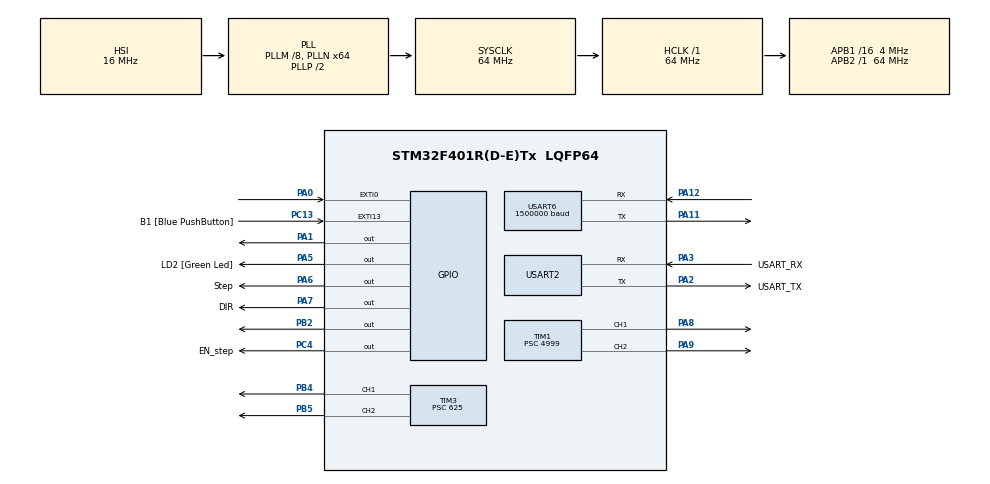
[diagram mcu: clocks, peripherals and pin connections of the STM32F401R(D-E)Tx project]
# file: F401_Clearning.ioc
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Mcu.Family=STM32F4
Mcu.Name=STM32F401R(D-E)Tx
Mcu.Package=LQFP64
NVIC.EXTI0_IRQn=true\:0\:0\:false\:false\:true\:true\:true
NVIC.EXTI15_10_IRQn=true\:0\:0\:false\:false\:true\:true\:true
NVIC.PriorityGroup=NVIC_PRIORITYGROUP_0
PA0-WKUP.GPIO_ModeDefaultEXTI=GPIO_MODE_IT_RISING_FALLING
PA0-WKUP.GPIO_PuPd=GPIO_PULLUP
PA0-WKUP.Signal=GPXTI0
PA1.Signal=GPIO_Output
PA11.Mode=Asynchronous
PA11.Signal=USART6_TX
PA12.Mode=Asynchronous
PA12.Signal=USART6_RX
PA13.GPIO_Label=TMS
PA13.Mode=Serial_Wire
PA13.Signal=SYS_JTMS-SWDIO
PA14.GPIO_Label=TCK
PA14.Mode=Serial_Wire
PA14.Signal=SYS_JTCK-SWCLK
PA2.GPIO_Label=USART_TX
PA2.GPIO_Mode=GPIO_MODE_AF_PP
PA2.GPIO_PuPd=GPIO_NOPULL
PA2.GPIO_Speed=GPIO_SPEED_FREQ_LOW
PA2.Mode=Asynchronous
PA2.Signal=USART2_TX
PA3.GPIO_Label=USART_RX
PA3.GPIO_Mode=GPIO_MODE_AF_PP
PA3.GPIO_PuPd=GPIO_NOPULL
PA3.GPIO_Speed=GPIO_SPEED_FREQ_LOW
PA3.Mode=Asynchronous
PA3.Signal=USART2_RX
PA5.GPIO_Label=LD2 [Green Led]
PA5.GPIO_Mode=GPIO_MODE_OUTPUT_PP
PA5.GPIO_PuPd=GPIO_NOPULL
PA5.GPIO_Speed=GPIO_SPEED_FREQ_LOW
PA5.Signal=GPIO_Output
PA6.GPIO_Label=Step
PA6.Signal=GPIO_Output
PA7.GPIO_Label=DIR
PA7.Signal=GPIO_Output
PA8.Signal=S_TIM1_CH1
PA9.Signal=S_TIM1_CH2
PB2.Signal=GPIO_Output
PB3.GPIO_Label=SWO
PB3.Signal=SYS_JTDO-SWO
PB4.Signal=S_TIM3_CH1
PB5.Signal=S_TIM3_CH2
PC13-ANTI_TAMP.GPIO_Label=B1 [Blue PushButton]
PC13-ANTI_TAMP.GPIO_ModeDefaultEXTI=GPIO_MODE_IT_FALLING
PC13-ANTI_TAMP.GPIO_PuPd=GPIO_NOPULL
PC13-ANTI_TAMP.Signal=GPXTI13
PC14-OSC32_IN.Mode=LSE-External-Oscillator
PC14-OSC32_IN.Signal=RCC_OSC32_IN
PC15-OSC32_OUT.Mode=LSE-External-Oscillator
PC15-OSC32_OUT.Signal=RCC_OSC32_OUT
PC4.GPIO_Label=EN_step
PC4.Signal=GPIO_Output
PH0\ -\ OSC_IN.Mode=HSE-External-Clock-Source
PH0\ -\ OSC_IN.Signal=RCC_OSC_IN
PH1\ -\ OSC_OUT.Mode=HSE-External-Clock-Source
PH1\ -\ OSC_OUT.Signal=RCC_OSC_OUT
ProjectManager.HeapSize=0x200
ProjectManager.StackSize=0x400
ProjectManager.TargetToolchain=STM32CubeIDE
RCC.48MHZClocksFreq_Value=18285714.285714287
RCC.AHBFreq_Value=64000000
RCC.APB1CLKDivider=RCC_HCLK_DIV16
RCC.APB1Freq_Value=4000000
RCC.APB1TimFreq_Value=8000000
RCC.APB2Freq_Value=64000000
RCC.APB2TimFreq_Value=64000000
RCC.CortexFreq_Value=64000000
RCC.HCLKFreq_Value=64000000
RCC.HSE_VALUE=8000000
RCC.HSI_VALUE=16000000
RCC.PLLM=8
RCC.PLLN=64
RCC.PLLQ=7
RCC.SYSCLKFreq_VALUE=64000000
RCC.SYSCLKSource=RCC_SYSCLKSOURCE_PLLCLK
RCC.VCOOutputFreq_Value=128000000
SH.S_TIM1_CH1.0=TIM1_CH1,PWM Generation1 CH1
SH.S_TIM1_CH2.0=TIM1_CH2,PWM Generation2 CH2
SH.S_TIM3_CH1.0=TIM3_CH1,PWM Generation1 CH1
SH.S_TIM3_CH2.0=TIM3_CH2,PWM Generation2 CH2
TIM1.Channel-PWM\ Generation1\ CH1=TIM_CHANNEL_1
TIM1.Channel-PWM\ Generation2\ CH2=TIM_CHANNEL_2
TIM1.Period=255
TIM1.Prescaler=4999
TIM2.Period=0xffff-1
TIM2.Prescaler=8-1
TIM3.Channel-PWM\ Generation1\ CH1=TIM_CHANNEL_1
TIM3.Channel-PWM\ Generation2\ CH2=TIM_CHANNEL_2
TIM3.Period=255
TIM3.Prescaler=625
USART2.VirtualMode=VM_ASYNC
USART6.BaudRate=1500000
USART6.VirtualMode=VM_ASYNC
VP_TIM1_VS_ClockSourceINT.Mode=Internal
VP_TIM2_VS_ClockSourceINT.Mode=Internal
VP_TIM3_VS_ClockSourceINT.Mode=Internal
board=NUCLEO-F401RE

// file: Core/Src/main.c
/* USER CODE BEGIN Header */
/**
  ******************************************************************************
  * @file           : main.c
  * @brief          : Main program body
  ******************************************************************************
  * @attention
  *
  * <h2><center>&copy; Copyright (c) 2021 STMicroelectronics.
  * All rights reserved.</center></h2>
  *
  * This software component is licensed by ST under BSD 3-Clause license,
  * the "License"; You may not use this file except in compliance with the
  * License. You may obtain a copy of the License at:
  *                        opensource.org/licenses/BSD-3-Clause
  *
  ******************************************************************************
  */
/* USER CODE END Header */
#include "main.h"

/* USER CODE BEGIN Includes */
#include <stdio.h>
#include <stdbool.h>
/* USER CODE END Includes */

TIM_HandleTypeDef htim1;
TIM_HandleTypeDef htim2;
TIM_HandleTypeDef htim3;

UART_HandleTypeDef huart2;
UART_HandleTypeDef huart6;

void SystemClock_Config(void);
static void MX_GPIO_Init(void);
static void MX_USART2_UART_Init(void);
static void MX_USART6_UART_Init(void);
static void MX_TIM1_Init(void);
static void MX_TIM2_Init(void);
static void MX_TIM3_Init(void);

/* USER CODE BEGIN 0 */
uint8_t stop;

void delay_us (uint32_t us)
{
	__HAL_TIM_SET_COUNTER(&htim2,0);  // set the counter value a 0
	while (__HAL_TIM_GET_COUNTER(&htim2) < us);  // wait for the counter to reach the us input in the parameter
}

void HAL_GPIO_EXTI_Callback(uint16_t GPIO_Pin)
{
  if (GPIO_Pin == GPIO_PIN_0)
  {
    if (HAL_GPIO_ReadPin(GPIOA, GPIO_PIN_0))
    {
//      HAL_GPIO_WritePin(GPIOA, DIR_Pin, 1);
      printf("off\r\n");
      stop=0;
    }
    else if(!HAL_GPIO_ReadPin(GPIOA, GPIO_PIN_0))
    {
//      HAL_GPIO_WritePin(GPIOA, DIR_Pin, 0);
      printf("on\r\n");
      stop=1;
    }
  }
}
/* USER CODE END 0 */

int main(void)
{

  /* MCU Configuration--------------------------------------------------------*/

  /* Reset of all peripherals, Initializes the Flash interface and the Systick. */
  HAL_Init();

  /* Configure the system clock */
  SystemClock_Config();

  /* Initialize all configured peripherals */
  MX_GPIO_Init();
  MX_USART2_UART_Init();
  MX_USART6_UART_Init();
  MX_TIM1_Init();
  MX_TIM2_Init();
  MX_TIM3_Init();
  /* USER CODE BEGIN 2 */
  printf("start\r\n");
  uint8_t txdata[9] = {0};
  short duty=10;
  int out_range_count = 0;
  int in_range_count = 0;
  bool clearning_handler= false;

  HAL_TIM_PWM_Start(&htim1,TIM_CHANNEL_1);
  HAL_TIM_PWM_Start(&htim1,TIM_CHANNEL_2);
  HAL_TIM_PWM_Start(&htim3,TIM_CHANNEL_1);
  HAL_TIM_PWM_Start(&htim3,TIM_CHANNEL_2);
  HAL_TIM_Base_Start_IT(&htim2);
//  HAL_TIM_Base_Start(&htim2);

  void init_motion(){
	  printf("init motion...\r\n");
	  HAL_GPIO_WritePin(EN_step_GPIO_Port, EN_step_Pin, 0);
	  if (HAL_GPIO_ReadPin(GPIOA, GPIO_PIN_0))
	  {
	    HAL_GPIO_WritePin(GPIOA, DIR_Pin, 0);
	    while(1){
		  HAL_GPIO_WritePin(GPIOA, Step_Pin, 1);
//		  HAL_Delay(0.4);
		  delay_us(800);
		  HAL_GPIO_WritePin(GPIOA, Step_Pin, 0);
//		  HAL_Delay(0.01);
		  delay_us(200);
		  if(stop == 1){
			  break;
		  }
	    }
	  }
	  HAL_GPIO_WritePin(GPIOA, DIR_Pin, 1);
	  for(int i=0;i<200;i++){
		  HAL_GPIO_WritePin(GPIOA, Step_Pin, 1);
	  	  HAL_Delay(1);
	  	  HAL_GPIO_WritePin(GPIOA, Step_Pin, 0);
	  	  HAL_Delay(1);
	  }
	  HAL_GPIO_WritePin(EN_step_GPIO_Port, EN_step_Pin, 1);

  }

  int sonic_sense(){
	  GPIO_InitTypeDef GPIO_InitStruct;

	  GPIO_InitStruct.Pin = GPIO_PIN_1;
	  GPIO_InitStruct.Mode = GPIO_MODE_OUTPUT_PP;
	  GPIO_InitStruct.Pull = GPIO_NOPULL;
	  GPIO_InitStruct.Speed = GPIO_SPEED_FREQ_LOW;
	  HAL_GPIO_Init(GPIOA, &GPIO_InitStruct);

	  HAL_GPIO_WritePin(GPIOA, GPIO_PIN_1, 0);
	  delay_us(2);
	  HAL_GPIO_WritePin(GPIOA, GPIO_PIN_1, 1);
	  delay_us(5);
	  HAL_GPIO_WritePin(GPIOA, GPIO_PIN_1, 0);

	  GPIO_InitStruct.Pin = GPIO_PIN_1;
	  GPIO_InitStruct.Mode = GPIO_MODE_INPUT; // digital Input
	  GPIO_InitStruct.Pull = GPIO_NOPULL;
	  HAL_GPIO_Init(GPIOA, &GPIO_InitStruct);

	  while(HAL_GPIO_ReadPin(GPIOA,GPIO_PIN_1) == GPIO_PIN_RESET);

	  __HAL_TIM_SET_COUNTER(&htim2,0);
	  while(HAL_GPIO_ReadPin(GPIOA,GPIO_PIN_1) == GPIO_PIN_SET);
	  int counter = __HAL_TIM_GET_COUNTER(&htim2);
	  delay_us(500);

	  return(counter);

  }

    void pos(unsigned char id,short deg,unsigned short time)
  {
      unsigned char deg_l = (unsigned char)(deg)&0x00FF;
      unsigned char deg_h = (unsigned char)(deg>>8)&0x00FF;
      unsigned char time_l = (unsigned char)(time)&0x00FF;
      unsigned char time_h = (unsigned char)(time>>8)&0x00FF;
      unsigned char sum = (0x09+0x06+id+deg_l+deg_h+time_l+time_h)&0x00FF;

      HAL_GPIO_WritePin(GPIOB, GPIO_PIN_2, 1);

      txdata[0]=0x09;   //1 SIZE
      txdata[1]=0x06;   //2 COMMAND
      txdata[2]=0x00;   //3 OPTION
      txdata[3]=id;     //4 ID
      txdata[4]=deg_l;  //5 POS_L
      txdata[5]=deg_h;  //6 POS_H
      txdata[6]=time_l; //7 TIME_L
      txdata[7]=time_h; //8 TIME_H
      txdata[8]=sum;    //9 SUM

  	  HAL_UART_Transmit(&huart6, txdata, 9, 0xFFFF);
      HAL_Delay(0.03);
      HAL_GPIO_WritePin(GPIOB, GPIO_PIN_2, 0);
  }
    void speed(unsigned char id,short speed)
    {
        unsigned char speed_l = (unsigned char)(speed)&0x00FF;
        unsigned char speed_h = (unsigned char)(speed>>8)&0x00FF;
        unsigned char sum = (0x09+0x04+0x00+id+speed_l+speed_h+0x30+0x01)&0x00FF;

        HAL_GPIO_WritePin(GPIOB, GPIO_PIN_2, 1);

        txdata[0]=0x09;//SIZE
        txdata[1]=0x04;//COMMAND
        txdata[2]=0x00;//OPTION
        txdata[3]=id;//ID
        txdata[4]=speed_l;//SPEED_LOWBYTE
        txdata[5]=speed_h;//SPEED_HIGHBYTE
        txdata[6]=0x30;//ADRESS(SPEED 0x03)
        txdata[7]=0x01;//COUNT
        txdata[8]=sum;//SUM

        HAL_UART_Transmit(&huart6, txdata, 9, 0xFFFF);
        HAL_Delay(0.03);
        HAL_GPIO_WritePin(GPIOB, GPIO_PIN_2, 0);
    }

    void write(unsigned char id,unsigned char data,unsigned char adress)
    {
        unsigned char sum = (0x08+0x04+0x00+id+data+adress+0x01)&0x00FF;
       HAL_GPIO_WritePin(GPIOB, GPIO_PIN_2, 1);
       txdata[0]=0x08;   //1 SIZE
       txdata[1]=0x04;   //2 COMMAND
       txdata[2]=0x00;   //3 OPTION
       txdata[3]=id;     //4 ID
       txdata[4]=data;  //DATA
       txdata[5]=adress;  //ADRESS
       txdata[6]=0x01; //COUNT
       txdata[7]=sum;    //9 SUM

       HAL_UART_Transmit(&huart6, txdata, 8, 0xFFFF);
       HAL_Delay(0.03);
       HAL_GPIO_WritePin(GPIOB, GPIO_PIN_2, 0);

    }

    void alcohol_motion(){
  	  write(0x04,0x00,0x28);
  	  write(0x04,0x01,0x29);
  	  //水平に調整
  	  pos(0x04,-1500,1000);
  	  HAL_Delay(2000);

  	  //右のアクリル噴�?
  	  __HAL_TIM_SET_COMPARE(&htim3,TIM_CHANNEL_1,11);
  	  HAL_Delay(500);
  	  __HAL_TIM_SET_COMPARE(&htim3,TIM_CHANNEL_2,20);
  	  HAL_Delay(500);
  	  __HAL_TIM_SET_COMPARE(&htim3,TIM_CHANNEL_2,12);
  	  HAL_Delay(2000);

  	  //左アクリルの噴�?
  	  __HAL_TIM_SET_COMPARE(&htim3,TIM_CHANNEL_1,24);
  	  HAL_Delay(500);
  	  __HAL_TIM_SET_COMPARE(&htim3,TIM_CHANNEL_2,20);
  	  HAL_Delay(500);
  	  __HAL_TIM_SET_COMPARE(&htim3,TIM_CHANNEL_2,12);
  	  HAL_Delay(2000);

  	  //机に噴�?
  	  pos(0x04,-1000,1000);
  	  HAL_Delay(1000);
  	  __HAL_TIM_SET_COMPARE(&htim3,TIM_CHANNEL_1,20);
  	  HAL_Delay(500);
  	  __HAL_TIM_SET_COMPARE(&htim3,TIM_CHANNEL_2,20);
  	  HAL_Delay(500);
  	  __HAL_TIM_SET_COMPARE(&htim3,TIM_CHANNEL_2,12);
  	  HAL_Delay(500);

  	  __HAL_TIM_SET_COMPARE(&htim3,TIM_CHANNEL_1,18);
  	  HAL_Delay(500);
  	  __HAL_TIM_SET_COMPARE(&htim3,TIM_CHANNEL_2,20);
  	  HAL_Delay(500);
  	  __HAL_TIM_SET_COMPARE(&htim3,TIM_CHANNEL_2,12);
  	  HAL_Delay(500);

  	  __HAL_TIM_SET_COMPARE(&htim3,TIM_CHANNEL_1,14);
  	  HAL_Delay(500);
  	  __HAL_TIM_SET_COMPARE(&htim3,TIM_CHANNEL_2,20);
  	  HAL_Delay(500);
  	  __HAL_TIM_SET_COMPARE(&htim3,TIM_CHANNEL_2,12);
  	  HAL_Delay(2000);

  	  //中央アクリルに噴�?
  	  pos(0x04,-4000,1000);
  	  HAL_Delay(1000);
  	  __HAL_TIM_SET_COMPARE(&htim3,TIM_CHANNEL_1,20);
  	  HAL_Delay(500);
  	  __HAL_TIM_SET_COMPARE(&htim3,TIM_CHANNEL_2,20);
  	  HAL_Delay(500);
  	  __HAL_TIM_SET_COMPARE(&htim3,TIM_CHANNEL_2,12);
  	  HAL_Delay(500);

  	  __HAL_TIM_SET_COMPARE(&htim3,TIM_CHANNEL_1,18);
  	  HAL_Delay(500);
  	  __HAL_TIM_SET_COMPARE(&htim3,TIM_CHANNEL_2,20);
  	  HAL_Delay(500);
  	  __HAL_TIM_SET_COMPARE(&htim3,TIM_CHANNEL_2,12);
  	  HAL_Delay(500);

  	  __HAL_TIM_SET_COMPARE(&htim3,TIM_CHANNEL_1,14);
  	  HAL_Delay(500);
  	  __HAL_TIM_SET_COMPARE(&htim3,TIM_CHANNEL_2,20);
  	  HAL_Delay(500);
  	  __HAL_TIM_SET_COMPARE(&htim3,TIM_CHANNEL_2,12);
  	  HAL_Delay(2000);

  	  //初期位置に戻�?
  	  pos(0x04,14000,4000);
  	  HAL_Delay(6000);

    }

    void clearning_motion(){

      printf("clearning motion...\r\n");

      alcohol_motion();

      write(0x01,0x04,0x28);
      write(0x02,0x04,0x28);
      write(0x03,0x04,0x28);
      write(0xFF,0x01,0x29);

      //モップ回転
   	  speed(0x01,-15000);
   	  speed(0x02,15000);
   	  speed(0x03,-15000);

  	  HAL_Delay(1000);

  	  HAL_GPIO_WritePin(EN_step_GPIO_Port, EN_step_Pin, 0);
  	  HAL_GPIO_WritePin(GPIOA, DIR_Pin, 1);

  	  //ステッピングモータ往復
  	  for(int i=0;i<19000;i++){
  		  HAL_GPIO_WritePin(GPIOA, Step_Pin, 1);
  		  delay_us(400);
  	  	  HAL_GPIO_WritePin(GPIOA, Step_Pin, 0);
  	  	  delay_us(400);
  	  }

      //モップ逆回転
   	  speed(0x01,15000);
   	  speed(0x02,-15000);
   	  speed(0x03,15000);

  	  HAL_Delay(1000);

  	  HAL_GPIO_WritePin(GPIOA, DIR_Pin, 0);
  	  for(int i=0;i<19000;i++){
  		  HAL_GPIO_WritePin(GPIOA, Step_Pin, 1);
  		  delay_us(400);
  	  	  HAL_GPIO_WritePin(GPIOA, Step_Pin, 0);
  	  	  delay_us(400);
  	  	  if (stop ==1){
  	  		  break;
  	  	  }
  	  }
  	  HAL_GPIO_WritePin(EN_step_GPIO_Port, EN_step_Pin, 1);

  	  //回転ストップ
  	  speed(0xFF,0);

  	  //机ふきふき
  	  duty=10;
	  __HAL_TIM_SET_COMPARE(&htim1,TIM_CHANNEL_1,duty);
	  __HAL_TIM_SET_COMPARE(&htim1,TIM_CHANNEL_2,30-duty);
  	  HAL_Delay(1000);
  	  duty=21;
	  __HAL_TIM_SET_COMPARE(&htim1,TIM_CHANNEL_1,duty);
	  __HAL_TIM_SET_COMPARE(&htim1,TIM_CHANNEL_2,30-duty);
  	  HAL_Delay(1000);

  	  duty=10;
	  __HAL_TIM_SET_COMPARE(&htim1,TIM_CHANNEL_1,duty);
	  __HAL_TIM_SET_COMPARE(&htim1,TIM_CHANNEL_2,30-duty);
  	  HAL_Delay(1000);
  	  duty=21;
	  __HAL_TIM_SET_COMPARE(&htim1,TIM_CHANNEL_1,duty);
	  __HAL_TIM_SET_COMPARE(&htim1,TIM_CHANNEL_2,30-duty);
  	  HAL_Delay(1000);

    }

  	init_motion();

  /* USER CODE END 2 */

  /* Infinite loop */
  while (1)
  {

    /* USER CODE BEGIN 3 */

//	  alcohol_motion();

/*------------------sonic_sense test------------------------*/

	  while(1){
		  int distance = sonic_sense();
		  printf("distance=%d\r\n",distance);
		  HAL_Delay(500);

		  if(distance>5000){         //??��?��?な??��?��?時間の計測
			  out_range_count++;
			  in_range_count=0;
		  }
		  else{                     //??��?��?る時間�???��?��計測
			  out_range_count=0;
			  in_range_count++;
			  if (in_range_count>10){ //滞在時間の設??��?��?
				  clearning_handler= true;
			  }
		  }

		  if(clearning_handler== true && out_range_count > 5){ //??��?��?な??��?��?時間の設??��?��?
			  clearning_motion();
			  init_motion();
			  clearning_handler= false;
		  }
	  }

/*-----------------------Servo test---------------------------*/

//	  duty=20;
//	  __HAL_TIM_SET_COMPARE(&htim1,TIM_CHANNEL_1,duty);
//	  __HAL_TIM_SET_COMPARE(&htim1,TIM_CHANNEL_2,30-duty);
//	  __HAL_TIM_SET_COMPARE(&htim3,TIM_CHANNEL_1,duty);
//	  __HAL_TIM_SET_COMPARE(&htim3,TIM_CHANNEL_2,duty);
//	  HAL_Delay(1000);
//
//	  duty=12;
//	  __HAL_TIM_SET_COMPARE(&htim1,TIM_CHANNEL_1,duty);
//	  __HAL_TIM_SET_COMPARE(&htim1,TIM_CHANNEL_2,30-duty);
//	  __HAL_TIM_SET_COMPARE(&htim3,TIM_CHANNEL_1,duty);
//	  __HAL_TIM_SET_COMPARE(&htim3,TIM_CHANNEL_2,duty);
//	  HAL_Delay(2000);

//  	  for( duty=21;duty>11;duty-=2){
//  	  	  __HAL_TIM_SET_COMPARE(&htim1,TIM_CHANNEL_1,duty);
//  	  	  __HAL_TIM_SET_COMPARE(&htim1,TIM_CHANNEL_2,30-duty);
//  	  	  HAL_Delay(200);
//  	  }
//  	  for( duty=11;duty<=21;duty+=2){
//  	  	  __HAL_TIM_SET_COMPARE(&htim1,TIM_CHANNEL_1,duty);
//  	  	  __HAL_TIM_SET_COMPARE(&htim1,TIM_CHANNEL_2,30-duty);
//  	  	  HAL_Delay(200);
//  	  }
//
//  	  HAL_Delay(1000);

/*-----------------------stepping test-------------------------*/

//	  if (HAL_GPIO_ReadPin(GPIOA, GPIO_PIN_0))
//	  {
//	    HAL_GPIO_WritePin(GPIOA, DIR_Pin, 1);
//
//	    while(1){
//	    	HAL_GPIO_WritePin(GPIOA, Step_Pin, 1);
//	    	HAL_Delay(4);
//	    	HAL_GPIO_WritePin(GPIOA, Step_Pin, 0);
//	    	HAL_Delay(1);
//	    	if(stop == 1){
//			  break;
//		  }
//	    }
//	  }
//	  if(!HAL_GPIO_ReadPin(GPIOA, GPIO_PIN_0))
//	  {
//	    HAL_GPIO_WritePin(GPIOA, DIR_Pin, 0);
//		  for (int i=0; i<100; i++) {
//			  HAL_GPIO_WritePin(GPIOA, Step_Pin, 1);
//			  HAL_Delay(4);
//			  HAL_GPIO_WritePin(GPIOA, Step_Pin, 0);
//			  HAL_Delay(1);
//		  }
//	  }

/*-----------------B3M test-----------------------*/
//	  write(0xFF,0x00,0x28);
//	  write(0xFF,0x01,0x29);
//  	  pos(0x04,9000,1000);
//  	  HAL_Delay(1000);
//  	  pos(0x04,0,1000);
//  	  HAL_Delay(1000);
//  	  pos(0x04,-9000,1000);
//  	  HAL_Delay(1000);

  }
  /* USER CODE END 3 */
}

void SystemClock_Config(void)
{
  RCC_OscInitTypeDef RCC_OscInitStruct = {0};
  RCC_ClkInitTypeDef RCC_ClkInitStruct = {0};

  /** Configure the main internal regulator output voltage
  */
  __HAL_RCC_PWR_CLK_ENABLE();
  __HAL_PWR_VOLTAGESCALING_CONFIG(PWR_REGULATOR_VOLTAGE_SCALE2);
  /** Initializes the RCC Oscillators according to the specified parameters
  * in the RCC_OscInitTypeDef structure.
  */
  RCC_OscInitStruct.OscillatorType = RCC_OSCILLATORTYPE_HSI;
  RCC_OscInitStruct.HSIState = RCC_HSI_ON;
  RCC_OscInitStruct.HSICalibrationValue = RCC_HSICALIBRATION_DEFAULT;
  RCC_OscInitStruct.PLL.PLLState = RCC_PLL_ON;
  RCC_OscInitStruct.PLL.PLLSource = RCC_PLLSOURCE_HSI;
  RCC_OscInitStruct.PLL.PLLM = 8;
  RCC_OscInitStruct.PLL.PLLN = 64;
  RCC_OscInitStruct.PLL.PLLP = RCC_PLLP_DIV2;
  RCC_OscInitStruct.PLL.PLLQ = 7;
  if (HAL_RCC_OscConfig(&RCC_OscInitStruct) != HAL_OK)
  {
    Error_Handler();
  }
  /** Initializes the CPU, AHB and APB buses clocks
  */
  RCC_ClkInitStruct.ClockType = RCC_CLOCKTYPE_HCLK|RCC_CLOCKTYPE_SYSCLK
                              |RCC_CLOCKTYPE_PCLK1|RCC_CLOCKTYPE_PCLK2;
  RCC_ClkInitStruct.SYSCLKSource = RCC_SYSCLKSOURCE_PLLCLK;
  RCC_ClkInitStruct.AHBCLKDivider = RCC_SYSCLK_DIV1;
  RCC_ClkInitStruct.APB1CLKDivider = RCC_HCLK_DIV16;
  RCC_ClkInitStruct.APB2CLKDivider = RCC_HCLK_DIV1;

  if (HAL_RCC_ClockConfig(&RCC_ClkInitStruct, FLASH_LATENCY_2) != HAL_OK)
  {
    Error_Handler();
  }
}

static void MX_TIM1_Init(void)
{

  TIM_ClockConfigTypeDef sClockSourceConfig = {0};
  TIM_MasterConfigTypeDef sMasterConfig = {0};
  TIM_OC_InitTypeDef sConfigOC = {0};
  TIM_BreakDeadTimeConfigTypeDef sBreakDeadTimeConfig = {0};

  htim1.Instance = TIM1;
  htim1.Init.Prescaler = 4999;
  htim1.Init.CounterMode = TIM_COUNTERMODE_UP;
  htim1.Init.Period = 255;
  htim1.Init.ClockDivision = TIM_CLOCKDIVISION_DIV1;
  htim1.Init.RepetitionCounter = 0;
  htim1.Init.AutoReloadPreload = TIM_AUTORELOAD_PRELOAD_DISABLE;
  if (HAL_TIM_Base_Init(&htim1) != HAL_OK)
  {
    Error_Handler();
  }
  sClockSourceConfig.ClockSource = TIM_CLOCKSOURCE_INTERNAL;
  if (HAL_TIM_ConfigClockSource(&htim1, &sClockSourceConfig) != HAL_OK)
  {
    Error_Handler();
  }
  if (HAL_TIM_PWM_Init(&htim1) != HAL_OK)
  {
    Error_Handler();
  }
  sMasterConfig.MasterOutputTrigger = TIM_TRGO_RESET;
  sMasterConfig.MasterSlaveMode = TIM_MASTERSLAVEMODE_DISABLE;
  if (HAL_TIMEx_MasterConfigSynchronization(&htim1, &sMasterConfig) != HAL_OK)
  {
    Error_Handler();
  }
  sConfigOC.OCMode = TIM_OCMODE_PWM1;
  sConfigOC.Pulse = 0;
  sConfigOC.OCPolarity = TIM_OCPOLARITY_HIGH;
  sConfigOC.OCNPolarity = TIM_OCNPOLARITY_HIGH;
  sConfigOC.OCFastMode = TIM_OCFAST_DISABLE;
  sConfigOC.OCIdleState = TIM_OCIDLESTATE_RESET;
  sConfigOC.OCNIdleState = TIM_OCNIDLESTATE_RESET;
  if (HAL_TIM_PWM_ConfigChannel(&htim1, &sConfigOC, TIM_CHANNEL_1) != HAL_OK)
  {
    Error_Handler();
  }
  if (HAL_TIM_PWM_ConfigChannel(&htim1, &sConfigOC, TIM_CHANNEL_2) != HAL_OK)
  {
    Error_Handler();
  }
  sBreakDeadTimeConfig.OffStateRunMode = TIM_OSSR_DISABLE;
  sBreakDeadTimeConfig.OffStateIDLEMode = TIM_OSSI_DISABLE;
  sBreakDeadTimeConfig.LockLevel = TIM_LOCKLEVEL_OFF;
  sBreakDeadTimeConfig.DeadTime = 0;
  sBreakDeadTimeConfig.BreakState = TIM_BREAK_DISABLE;
  sBreakDeadTimeConfig.BreakPolarity = TIM_BREAKPOLARITY_HIGH;
  sBreakDeadTimeConfig.AutomaticOutput = TIM_AUTOMATICOUTPUT_DISABLE;
  if (HAL_TIMEx_ConfigBreakDeadTime(&htim1, &sBreakDeadTimeConfig) != HAL_OK)
  {
    Error_Handler();
  }
  HAL_TIM_MspPostInit(&htim1);

}

static void MX_TIM2_Init(void)
{

  TIM_ClockConfigTypeDef sClockSourceConfig = {0};
  TIM_MasterConfigTypeDef sMasterConfig = {0};

  htim2.Instance = TIM2;
  htim2.Init.Prescaler = 8-1;
  htim2.Init.CounterMode = TIM_COUNTERMODE_UP;
  htim2.Init.Period = 0xffff-1;
  htim2.Init.ClockDivision = TIM_CLOCKDIVISION_DIV1;
  htim2.Init.AutoReloadPreload = TIM_AUTORELOAD_PRELOAD_DISABLE;
  if (HAL_TIM_Base_Init(&htim2) != HAL_OK)
  {
    Error_Handler();
  }
  sClockSourceConfig.ClockSource = TIM_CLOCKSOURCE_INTERNAL;
  if (HAL_TIM_ConfigClockSource(&htim2, &sClockSourceConfig) != HAL_OK)
  {
    Error_Handler();
  }
  sMasterConfig.MasterOutputTrigger = TIM_TRGO_RESET;
  sMasterConfig.MasterSlaveMode = TIM_MASTERSLAVEMODE_DISABLE;
  if (HAL_TIMEx_MasterConfigSynchronization(&htim2, &sMasterConfig) != HAL_OK)
  {
    Error_Handler();
  }

}

static void MX_TIM3_Init(void)
{

  TIM_ClockConfigTypeDef sClockSourceConfig = {0};
  TIM_MasterConfigTypeDef sMasterConfig = {0};
  TIM_OC_InitTypeDef sConfigOC = {0};

  htim3.Instance = TIM3;
  htim3.Init.Prescaler = 625;
  htim3.Init.CounterMode = TIM_COUNTERMODE_UP;
  htim3.Init.Period = 255;
  htim3.Init.ClockDivision = TIM_CLOCKDIVISION_DIV1;
  htim3.Init.AutoReloadPreload = TIM_AUTORELOAD_PRELOAD_DISABLE;
  if (HAL_TIM_Base_Init(&htim3) != HAL_OK)
  {
    Error_Handler();
  }
  sClockSourceConfig.ClockSource = TIM_CLOCKSOURCE_INTERNAL;
  if (HAL_TIM_ConfigClockSource(&htim3, &sClockSourceConfig) != HAL_OK)
  {
    Error_Handler();
  }
  if (HAL_TIM_PWM_Init(&htim3) != HAL_OK)
  {
    Error_Handler();
  }
  sMasterConfig.MasterOutputTrigger = TIM_TRGO_RESET;
  sMasterConfig.MasterSlaveMode = TIM_MASTERSLAVEMODE_DISABLE;
  if (HAL_TIMEx_MasterConfigSynchronization(&htim3, &sMasterConfig) != HAL_OK)
  {
    Error_Handler();
  }
  sConfigOC.OCMode = TIM_OCMODE_PWM1;
  sConfigOC.Pulse = 0;
  sConfigOC.OCPolarity = TIM_OCPOLARITY_HIGH;
  sConfigOC.OCFastMode = TIM_OCFAST_DISABLE;
  if (HAL_TIM_PWM_ConfigChannel(&htim3, &sConfigOC, TIM_CHANNEL_1) != HAL_OK)
  {
    Error_Handler();
  }
  if (HAL_TIM_PWM_ConfigChannel(&htim3, &sConfigOC, TIM_CHANNEL_2) != HAL_OK)
  {
    Error_Handler();
  }
  HAL_TIM_MspPostInit(&htim3);

}

static void MX_USART2_UART_Init(void)
{

  huart2.Instance = USART2;
  huart2.Init.BaudRate = 115200;
  huart2.Init.WordLength = UART_WORDLENGTH_8B;
  huart2.Init.StopBits = UART_STOPBITS_1;
  huart2.Init.Parity = UART_PARITY_NONE;
  huart2.Init.Mode = UART_MODE_TX_RX;
  huart2.Init.HwFlowCtl = UART_HWCONTROL_NONE;
  huart2.Init.OverSampling = UART_OVERSAMPLING_16;
  if (HAL_UART_Init(&huart2) != HAL_OK)
  {
    Error_Handler();
  }

}

static void MX_USART6_UART_Init(void)
{

  huart6.Instance = USART6;
  huart6.Init.BaudRate = 1500000;
  huart6.Init.WordLength = UART_WORDLENGTH_8B;
  huart6.Init.StopBits = UART_STOPBITS_1;
  huart6.Init.Parity = UART_PARITY_NONE;
  huart6.Init.Mode = UART_MODE_TX_RX;
  huart6.Init.HwFlowCtl = UART_HWCONTROL_NONE;
  huart6.Init.OverSampling = UART_OVERSAMPLING_16;
  if (HAL_UART_Init(&huart6) != HAL_OK)
  {
    Error_Handler();
  }

}

static void MX_GPIO_Init(void)
{
  GPIO_InitTypeDef GPIO_InitStruct = {0};

  /* GPIO Ports Clock Enable */
  __HAL_RCC_GPIOC_CLK_ENABLE();
  __HAL_RCC_GPIOH_CLK_ENABLE();
  __HAL_RCC_GPIOA_CLK_ENABLE();
  __HAL_RCC_GPIOB_CLK_ENABLE();

  /*Configure GPIO pin Output Level */
  HAL_GPIO_WritePin(GPIOA, GPIO_PIN_1|LD2_Pin|Step_Pin|DIR_Pin, GPIO_PIN_RESET);

  /*Configure GPIO pin Output Level */
  HAL_GPIO_WritePin(EN_step_GPIO_Port, EN_step_Pin, GPIO_PIN_RESET);

  /*Configure GPIO pin Output Level */
  HAL_GPIO_WritePin(GPIOB, GPIO_PIN_2, GPIO_PIN_RESET);

  /*Configure GPIO pin : B1_Pin */
  GPIO_InitStruct.Pin = B1_Pin;
  GPIO_InitStruct.Mode = GPIO_MODE_IT_FALLING;
  GPIO_InitStruct.Pull = GPIO_NOPULL;
  HAL_GPIO_Init(B1_GPIO_Port, &GPIO_InitStruct);

  /*Configure GPIO pin : PA0 */
  GPIO_InitStruct.Pin = GPIO_PIN_0;
  GPIO_InitStruct.Mode = GPIO_MODE_IT_RISING_FALLING;
  GPIO_InitStruct.Pull = GPIO_PULLUP;
  HAL_GPIO_Init(GPIOA, &GPIO_InitStruct);

  /*Configure GPIO pins : PA1 LD2_Pin Step_Pin DIR_Pin */
  GPIO_InitStruct.Pin = GPIO_PIN_1|LD2_Pin|Step_Pin|DIR_Pin;
  GPIO_InitStruct.Mode = GPIO_MODE_OUTPUT_PP;
  GPIO_InitStruct.Pull = GPIO_NOPULL;
  GPIO_InitStruct.Speed = GPIO_SPEED_FREQ_LOW;
  HAL_GPIO_Init(GPIOA, &GPIO_InitStruct);

  /*Configure GPIO pin : EN_step_Pin */
  GPIO_InitStruct.Pin = EN_step_Pin;
  GPIO_InitStruct.Mode = GPIO_MODE_OUTPUT_PP;
  GPIO_InitStruct.Pull = GPIO_NOPULL;
  GPIO_InitStruct.Speed = GPIO_SPEED_FREQ_LOW;
  HAL_GPIO_Init(EN_step_GPIO_Port, &GPIO_InitStruct);

  /*Configure GPIO pin : PB2 */
  GPIO_InitStruct.Pin = GPIO_PIN_2;
  GPIO_InitStruct.Mode = GPIO_MODE_OUTPUT_PP;
  GPIO_InitStruct.Pull = GPIO_NOPULL;
  GPIO_InitStruct.Speed = GPIO_SPEED_FREQ_LOW;
  HAL_GPIO_Init(GPIOB, &GPIO_InitStruct);

  /* EXTI interrupt init*/
  HAL_NVIC_SetPriority(EXTI0_IRQn, 0, 0);
  HAL_NVIC_EnableIRQ(EXTI0_IRQn);

  HAL_NVIC_SetPriority(EXTI15_10_IRQn, 0, 0);
  HAL_NVIC_EnableIRQ(EXTI15_10_IRQn);

}

/* USER CODE BEGIN 4 */
int _write(int file, char *ptr, int len)
{
  HAL_UART_Transmit(&huart2,(uint8_t *)ptr,len,10);
  return len;
}
/* USER CODE END 4 */

void Error_Handler(void)
{
  __disable_irq();
  while (1)
  {
  }
}

/************************ (C) COPYRIGHT STMicroelectronics *****END OF FILE****/
